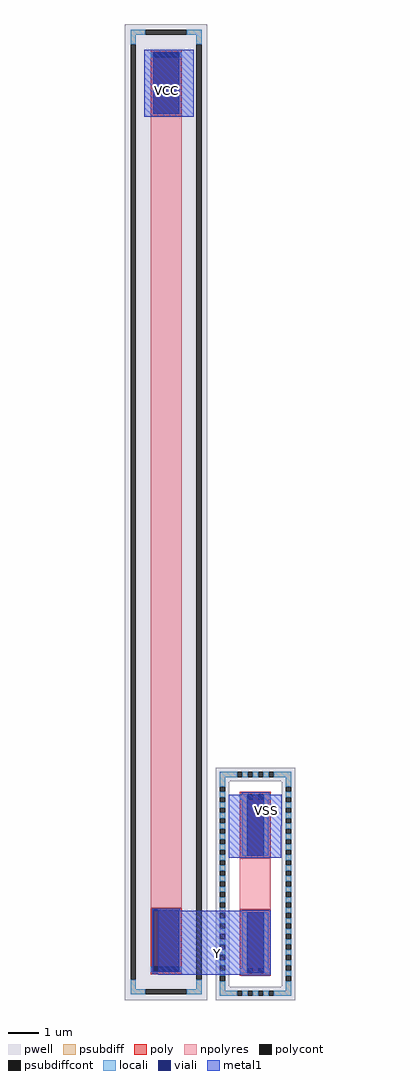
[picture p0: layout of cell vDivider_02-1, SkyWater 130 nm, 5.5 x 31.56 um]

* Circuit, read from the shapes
.subckt vDivider_02-1 VCC Y VSS
R1 VCC Y sky130_fd_pr__res_generic_po w=1 l=25.6
R2 VSS Y sky130_fd_pr__res_generic_po w=1 l=1.65
.ends

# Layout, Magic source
magic
tech sky130B
magscale 1 2
<< metal1 >>
rect 30 6268 348 6700
rect 576 1682 918 1882
rect 576 1476 914 1682
rect 118 720 846 1132
use sky130_fd_pr__res_generic_po_4WEV9M  R1
transform 1 0 748 0 1 1307
box -256 -751 256 751
use sky130_fd_pr__res_generic_po_H5PH2K  sky130_fd_pr__res_generic_po_H5PH2K_0
transform 1 0 170 0 1 3712
box -266 -3156 266 3156
<< labels >>
flabel metal1 s 404 758 604 958 0 FreeSans 320 0 0 0 Y
port 2 nsew
flabel metal1 s 718 1682 918 1882 0 FreeSans 320 0 0 0 VSS
port 3 nsew
flabel metal1 s 70 6338 270 6538 0 FreeSans 320 0 0 0 VCC
port 1 nsew
<< end >>

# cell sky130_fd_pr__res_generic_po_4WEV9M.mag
magic
tech sky130B
magscale 1 2
<< pwell >>
rect -256 665 256 751
rect -256 -665 -170 665
rect 170 -665 256 665
rect -256 -751 256 -665
<< psubdiff >>
rect -230 691 -119 725
rect -85 691 -51 725
rect -17 691 17 725
rect 51 691 85 725
rect 119 691 230 725
rect -230 629 -196 691
rect 196 629 230 691
rect -230 561 -196 595
rect -230 493 -196 527
rect -230 425 -196 459
rect -230 357 -196 391
rect -230 289 -196 323
rect -230 221 -196 255
rect -230 153 -196 187
rect -230 85 -196 119
rect -230 17 -196 51
rect -230 -51 -196 -17
rect -230 -119 -196 -85
rect -230 -187 -196 -153
rect -230 -255 -196 -221
rect -230 -323 -196 -289
rect -230 -391 -196 -357
rect -230 -459 -196 -425
rect -230 -527 -196 -493
rect -230 -595 -196 -561
rect 196 561 230 595
rect 196 493 230 527
rect 196 425 230 459
rect 196 357 230 391
rect 196 289 230 323
rect 196 221 230 255
rect 196 153 230 187
rect 196 85 230 119
rect 196 17 230 51
rect 196 -51 230 -17
rect 196 -119 230 -85
rect 196 -187 230 -153
rect 196 -255 230 -221
rect 196 -323 230 -289
rect 196 -391 230 -357
rect 196 -459 230 -425
rect 196 -527 230 -493
rect 196 -595 230 -561
rect -230 -691 -196 -629
rect 196 -691 230 -629
rect -230 -725 -119 -691
rect -85 -725 -51 -691
rect -17 -725 17 -691
rect 51 -725 85 -691
rect 119 -725 230 -691
<< psubdiffcont >>
rect -119 691 -85 725
rect -51 691 -17 725
rect 17 691 51 725
rect 85 691 119 725
rect -230 595 -196 629
rect 196 595 230 629
rect -230 527 -196 561
rect -230 459 -196 493
rect -230 391 -196 425
rect -230 323 -196 357
rect -230 255 -196 289
rect -230 187 -196 221
rect -230 119 -196 153
rect -230 51 -196 85
rect -230 -17 -196 17
rect -230 -85 -196 -51
rect -230 -153 -196 -119
rect -230 -221 -196 -187
rect -230 -289 -196 -255
rect -230 -357 -196 -323
rect -230 -425 -196 -391
rect -230 -493 -196 -459
rect -230 -561 -196 -527
rect 196 527 230 561
rect 196 459 230 493
rect 196 391 230 425
rect 196 323 230 357
rect 196 255 230 289
rect 196 187 230 221
rect 196 119 230 153
rect 196 51 230 85
rect 196 -17 230 17
rect 196 -85 230 -51
rect 196 -153 230 -119
rect 196 -221 230 -187
rect 196 -289 230 -255
rect 196 -357 230 -323
rect 196 -425 230 -391
rect 196 -493 230 -459
rect 196 -561 230 -527
rect -230 -629 -196 -595
rect 196 -629 230 -595
rect -119 -725 -85 -691
rect -51 -725 -17 -691
rect 17 -725 51 -691
rect 85 -725 119 -691
<< poly >>
rect -100 579 100 595
rect -100 545 -51 579
rect -17 545 17 579
rect 51 545 100 579
rect -100 165 100 545
rect -100 -545 100 -165
rect -100 -579 -51 -545
rect -17 -579 17 -545
rect 51 -579 100 -545
rect -100 -595 100 -579
<< polycont >>
rect -51 545 -17 579
rect 17 545 51 579
rect -51 -579 -17 -545
rect 17 -579 51 -545
<< npolyres >>
rect -100 -165 100 165
<< locali >>
rect -230 691 -119 725
rect -85 691 -51 725
rect -17 691 17 725
rect 51 691 85 725
rect 119 691 230 725
rect -230 629 -196 691
rect -230 561 -196 595
rect 196 629 230 691
rect -100 577 -51 579
rect -17 577 17 579
rect 51 577 100 579
rect -100 545 -53 577
rect 53 545 100 577
rect 196 561 230 595
rect -230 493 -196 527
rect -230 425 -196 459
rect -230 357 -196 391
rect -230 289 -196 323
rect -230 221 -196 255
rect -230 153 -196 187
rect -84 183 -53 545
rect 53 183 84 545
rect -84 182 84 183
rect 196 493 230 527
rect 196 425 230 459
rect 196 357 230 391
rect 196 289 230 323
rect 196 221 230 255
rect -230 85 -196 119
rect -230 17 -196 51
rect -230 -51 -196 -17
rect -230 -119 -196 -85
rect -230 -187 -196 -153
rect 196 153 230 187
rect 196 85 230 119
rect 196 17 230 51
rect 196 -51 230 -17
rect 196 -119 230 -85
rect -230 -255 -196 -221
rect -230 -323 -196 -289
rect -230 -391 -196 -357
rect -230 -459 -196 -425
rect -230 -527 -196 -493
rect -84 -184 84 -182
rect -84 -545 -53 -184
rect 53 -545 84 -184
rect 196 -187 230 -153
rect 196 -255 230 -221
rect 196 -323 230 -289
rect 196 -391 230 -357
rect 196 -459 230 -425
rect 196 -527 230 -493
rect -230 -595 -196 -561
rect -100 -578 -53 -545
rect 53 -578 100 -545
rect -100 -579 -51 -578
rect -17 -579 17 -578
rect 51 -579 100 -578
rect -230 -691 -196 -629
rect 196 -595 230 -561
rect 196 -691 230 -629
rect -230 -725 -119 -691
rect -85 -725 -51 -691
rect -17 -725 17 -691
rect 51 -725 85 -691
rect 119 -725 230 -691
<< viali >>
rect -53 545 -51 577
rect -51 545 -17 577
rect -17 545 17 577
rect 17 545 51 577
rect 51 545 53 577
rect -53 183 53 545
rect -53 -545 53 -184
rect -53 -578 -51 -545
rect -51 -578 -17 -545
rect -17 -578 17 -545
rect 17 -578 51 -545
rect 51 -578 53 -545
<< metal1 >>
rect -90 577 90 591
rect -90 183 -53 577
rect 53 183 90 577
rect -90 170 90 183
rect -90 -184 90 -170
rect -90 -578 -53 -184
rect 53 -578 90 -184
rect -90 -591 90 -578
<< properties >>
string FIXED_BBOX -213 -708 213 708
<< end >>

# cell sky130_fd_pr__res_generic_po_H5PH2K: kit device sky130_fd_pr__res_generic_po, w 1 l 25.6 m 1 nx 1 wmin 0.330 lmin 1.650 class resistor rho 48.2 val 1.233k dummy 0 dw 0.0 term 0.0 sterm 0.0 caplen 0.4 snake 0 guard 1 glc 1 grc 1 gtc 1 gbc 1 roverlap 0 endcov 100 full_metal 1 hv_guard 0 n_guard 0 vias 1 viagb 0 viagt 0 viagl 0 viagr 0
